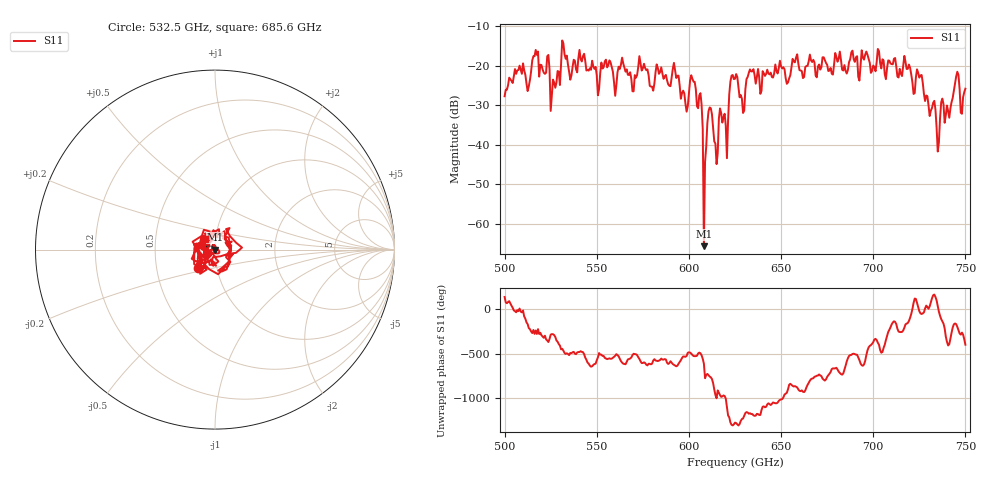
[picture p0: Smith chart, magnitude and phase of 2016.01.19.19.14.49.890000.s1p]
!Created with skrf (http://scikit-rf.org).
# GHz S RI R 50.0
!freq ReS11 ImS11
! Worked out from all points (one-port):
!   401 points, 500 GHz to 750 GHz, reference 50 ohm
!   lowest |S11| = -65.7 dB at 608.1 GHz (marker M1), VSWR 1.00, Z = 50 + j0.0496 ohm
!   |S11| at or under -10 dB: start of sweep to end of sweep
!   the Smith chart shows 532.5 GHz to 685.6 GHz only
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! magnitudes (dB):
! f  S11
! 500 GHz  -27.7
! 506.9 GHz  -21.2
! 513.1 GHz  -25.2
! 516.9 GHz  -16.0
! 526.2 GHz  -23.5
! 531.2 GHz  -13.6
! 550.6 GHz  -27.5
! 562.5 GHz  -20.8
! 593.8 GHz  -22.5
! 598.8 GHz  -31.6
! 602.5 GHz  -24.0
! 606.2 GHz  -27.0
! 608.1 GHz  -65.7
! 609.4 GHz  -40.6
! 611.2 GHz  -30.6
! 614.4 GHz  -39.7
! 617.5 GHz  -32.0
! 620 GHz  -35.2
! 625 GHz  -23.3
! 628.8 GHz  -28.4
! 633.8 GHz  -21.4
! 656.2 GHz  -18.3
! 687.5 GHz  -18.4
! 718.8 GHz  -20.8
! 725 GHz  -23.0
! 735 GHz  -41.7
! 745 GHz  -22.7
! 750 GHz  -25.8
